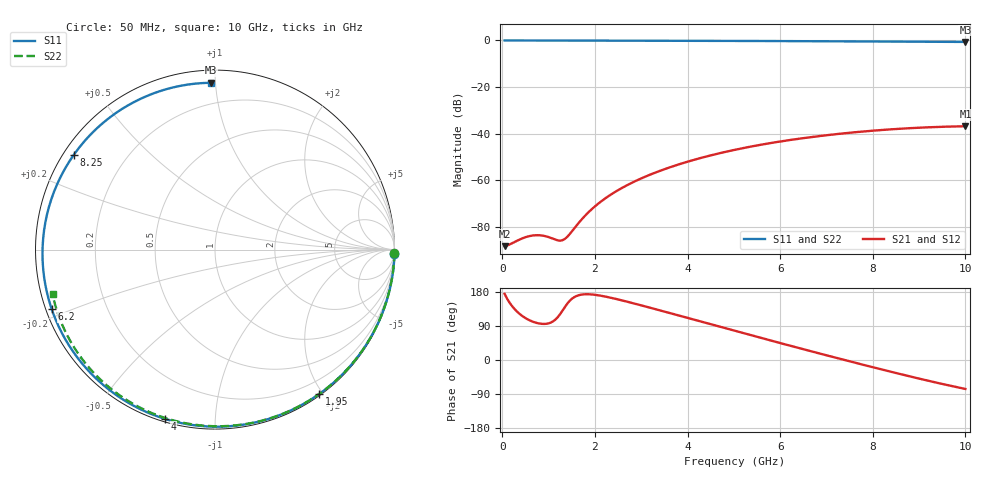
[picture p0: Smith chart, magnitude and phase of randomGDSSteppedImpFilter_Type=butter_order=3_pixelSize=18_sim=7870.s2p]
! freq	dB(S11)	phase(S11)	dB(S12)	phase(S12)
!  dB(S21)	phase(S21)	dB(S22)	phase(S22)
!S-par simulation data
#  GHz  S  DB  R 50
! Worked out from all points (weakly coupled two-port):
!   200 points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, 50 MHz to 10 GHz, reference 50 ohm
!   highest |S21| = -36.80 dB at 10 GHz (marker M1); lowest = -88.2 dB at 50 MHz (marker M2)
!   lowest |S11| = -0.6 dB at 10 GHz (marker M3), VSWR 27.40, Z = 3.57 + j48.8 ohm
!   |S11| at or under -10 dB: nowhere
!   |S22| runs from -0.5 to 0.0 dB; largest |S21 - S12| = 0
!   S11 on the Smith chart (normalised r, x): 50 MHz: 0, -80; 1.95 GHz: 0.02, -1.96; 4 GHz: 0.01, -0.75; 6.2 GHz: 0.02, -0.18; 8.25 GHz: 0.03, +0.30; 10 GHz: 0.07, +0.98
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0.05  -0.00 -1.4  -88.24 174.6  -88.24 174.6  -0.00 -0.9
0.75  -0.03 -21.2  -83.53 97.6  -83.53 97.6  -0.02 -14.2
1.55  -0.05 -43.3  -80.72 165.6  -80.72 165.6  -0.04 -29.2
1.6  -0.06 -44.7  -79.47 168.8  -79.47 168.8  -0.04 -30.1
1.75  -0.06 -48.8  -75.97 173.2  -75.97 173.2  -0.04 -32.9
1.95  -0.07 -54.1  -72.04 172.7  -72.04 172.7  -0.05 -36.5
2.25  -0.08 -62.1  -67.36 166.7  -67.36 166.7  -0.05 -42.0
2.55  -0.09 -70.0  -63.64 158.3  -63.64 158.3  -0.06 -47.4
2.95  -0.10 -80.3  -59.62 145.8  -59.62 145.8  -0.07 -54.4
3.4  -0.12 -91.7  -55.96 131.1  -55.96 131.1  -0.08 -62.3
4  -0.14 -106.6  -52.01 111.2  -52.01 111.2  -0.10 -72.5
4.5  -0.17 -118.7  -49.30 94.4  -49.30 94.4  -0.12 -80.7
5.05  -0.20 -132.0  -46.79 76.1  -46.79 76.1  -0.14 -89.6
5.65  -0.24 -146.5  -44.50 56.2  -44.50 56.2  -0.17 -99.1
6.2  -0.28 -159.9  -42.74 38.2  -42.74 38.2  -0.19 -107.6
6.7  -0.32 -172.4  -41.38 22.0  -41.38 22.0  -0.22 -115.2
7.5  -0.39 166.9  -39.59 -3.4  -39.59 -3.4  -0.28 -127.2
8.25  -0.47 146.1  -38.32 -26.7  -38.32 -26.7  -0.35 -138.3
8.35  -0.48 143.2  -38.18 -29.8  -38.18 -29.8  -0.36 -139.8
9.25  -0.57 115.9  -37.21 -56.2  -37.21 -56.2  -0.45 -153.2
9.65  -0.60 102.9  -36.95 -67.3  -36.95 -67.3  -0.50 -159.2
10  -0.63 91.3  -36.80 -76.4  -36.80 -76.4  -0.55 -164.6
